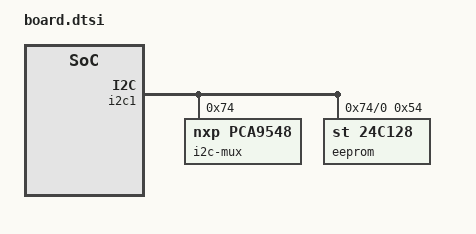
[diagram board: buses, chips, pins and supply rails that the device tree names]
/* VCK190 board-specific device-tree nodes (appended to the machine's SDT base
 * dts at bitbake time via PYNQ_BOARD_DTSI). */

/ {
	aliases {
		nvmem0 = &eeprom;
	};

	reserved-memory {
		#address-cells = <2>;
		#size-cells = <2>;
		ranges;
		linux,cma {
			compatible = "shared-dma-pool";
			reusable;
			size = <0x0 0x20000000>;
			alignment = <0x0 0x2000>;
			/* Pin the cma pool to the low 2 GB DDR bank so the FPGA-manager
			 * PDI DMA gets DMA-reachable contiguous memory. */
			alloc-ranges = <0x0 0x0 0x0 0x80000000>;
			linux,cma-default;
		};

		/* LPDDR0 -- 4GB */
		lpddr0_ch2@60000000000 {
			compatible = "shared-dma-pool";
			no-map;
			reg = <0x600 0x00000000 0x1 0x00000000>;
		};

		/* LPDDR1 -- 4GB */
		lpddr1_ch1@50000000000 {
			compatible = "shared-dma-pool";
			no-map;
			reg = <0x500 0x00000000 0x1 0x00000000>;
		};
	};
};

&i2c1 {
	i2c-mux@74 {
		compatible = "nxp,pca9548";
		#address-cells = <1>;
		#size-cells = <0>;
		reg = <0x74>;
		i2c-mux-idle-disconnect;

		i2c@0 {
			#address-cells = <1>;
			#size-cells = <0>;
			reg = <0>;

			eeprom: eeprom@54 {
				compatible = "st,24c128", "atmel,24c128";
				reg = <0x54>;
			};
		};
	};
};
